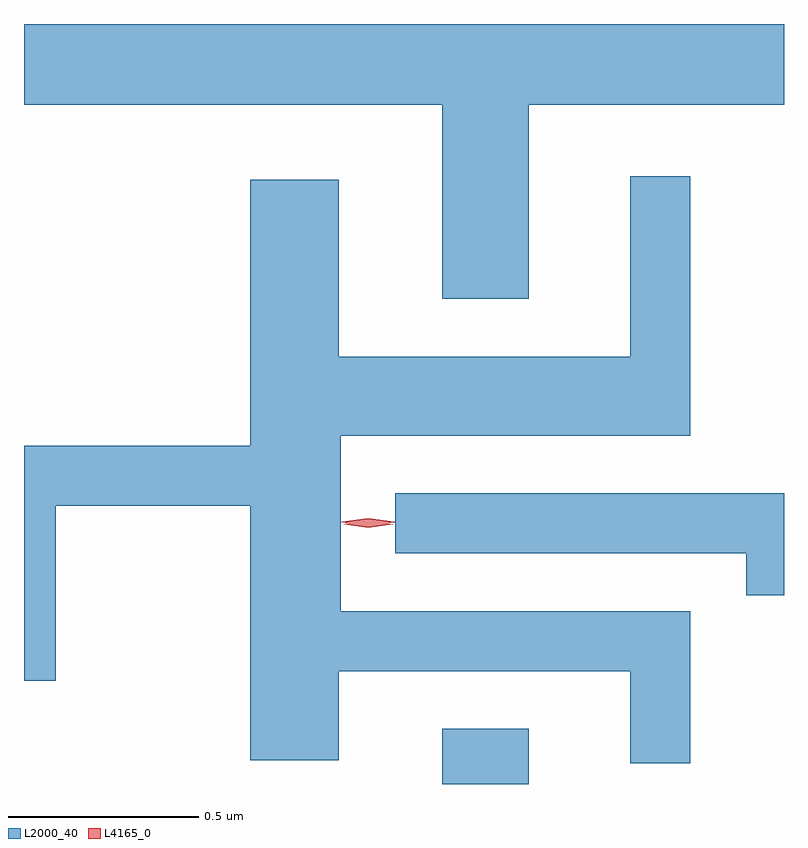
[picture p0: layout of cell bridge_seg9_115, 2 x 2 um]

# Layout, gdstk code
import gdstk
lib = gdstk.Library(unit=1e-6, precision=1e-09)
def R(c, l, rs):  # rectangles x0, y0, x1, y1
    for r in rs: c.add(gdstk.rectangle(r[:2], r[2:], *l))
def P(c, l, *ps):  # polygons
    for p in ps: c.add(gdstk.Polygon(p, *l))
L2000_40 = (2000, 40)
L4165_0 = (4165, 0)

bridge_seg9_115 = lib.new_cell('bridge_seg9_115')
R(bridge_seg9_115, L2000_40, [(1821.231,1974.489,1821.459,1974.634)])
P(bridge_seg9_115, L2000_40, [(1821.459,1976.276),(1822.131,1976.276),(1822.131,1976.489),(1820.131,1976.489),(1820.131,1976.276),(1821.231,1976.276),(1821.231,1975.766),(1821.459,1975.766)],
  [(1821.884,1974.944),(1820.964,1974.944),(1820.964,1975.406),(1821.884,1975.406),(1821.884,1976.088),(1821.726,1976.088),(1821.726,1975.614),(1820.959,1975.614),(1820.959,1976.079),(1820.726,1976.079),(1820.726,1975.379),(1820.131,1975.379),(1820.131,1974.761),(1820.214,1974.761),(1820.214,1975.221),(1820.726,1975.221),(1820.726,1974.551),(1820.959,1974.551),(1820.959,1974.786),(1821.726,1974.786),(1821.726,1974.543),(1821.884,1974.543)],
  [(1822.131,1975.254),(1821.108,1975.254),(1821.108,1975.096),(1822.031,1975.096),(1822.031,1974.986),(1822.131,1974.986)])
P(bridge_seg9_115, L4165_0, [(1821.036,1975.169),(1820.967,1975.178),(1820.967,1975.179),(1820.967,1975.179),(1821.037,1975.189),(1821.106,1975.179),(1821.106,1975.178),(1821.106,1975.178)],
  [(1821.037,1975.163),(1820.972,1975.172),(1820.972,1975.173),(1820.972,1975.173),(1821.037,1975.183),(1821.102,1975.173),(1821.103,1975.173),(1821.102,1975.172)])

lib.write_gds('bridge_seg9_115.gds')
